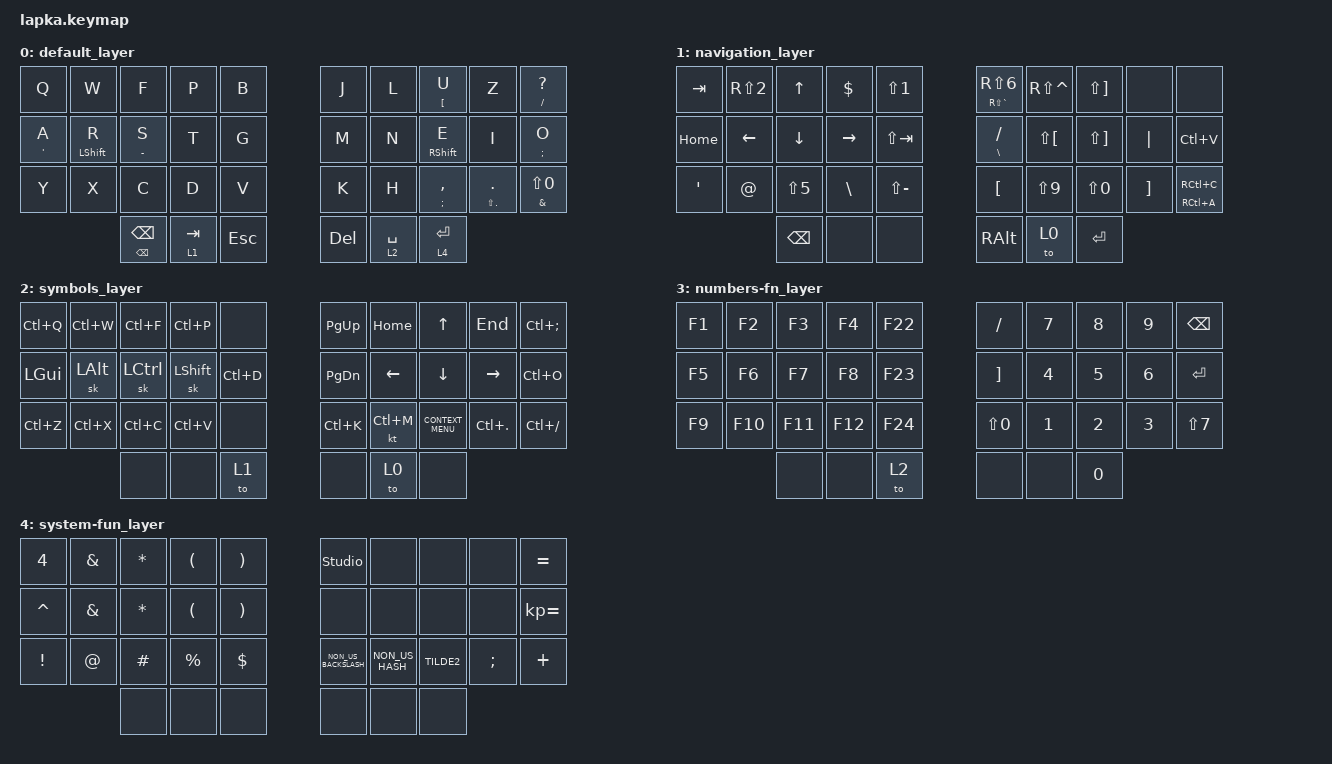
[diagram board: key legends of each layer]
#include <behaviors.dtsi>
#include <dt-bindings/zmk/keys.h>

//  0  1  2  3  4       5  6  7  8  9
// 10 11 12 13 14      15 16 17 18 19
// 20 21 22 23 24      25 26 27 28 29
//       30 31 32      33 34 35

#define LEFT_KEYS 0 1 2 3 4 10 11 12 13 14 20 21 22 23 24
#define LEFT_THUMBS 30 31 32
#define RIGHT_KEYS 5 6 7 8 9 15 16 17 18 19 25 26 27 28 29
#define RIGHT_THUMBS 33 34 35
#define DEF 0
#define NAV 1
#define SYM 2
#define NUM 3
#define SYS 4

/ {
    conditional_layers { compatible = "zmk,conditional-layers"; };
};

/ {
    combos { compatible = "zmk,combos"; };

    keymap {
        compatible = "zmk,keymap";

        default_layer {
            bindings = <
&kp Q      &kp W             &kp F                    &kp P      &kp B       &kp J       &kp L        &mt LEFT_BRACKET U  &kp Z            &mt SLASH QUESTION
&mt SQT A  &mt LEFT_SHIFT R  &mt MINUS S              &kp T      &kp G       &kp M       &kp N        &mt RIGHT_SHIFT E   &kp I            &mt SEMICOLON O
&kp Y      &kp X             &kp C                    &kp D      &kp V       &kp K       &kp H        &mt SEMI COMMA      &mt LS(DOT) DOT  &mt AMPERSAND LS(N0)
                             &mt BACKSPACE BACKSPACE  &lt 1 TAB  &kp ESCAPE  &kp DELETE  &lt 2 SPACE  &lt 4 ENTER
            >;
        };

        navigation_layer {
            bindings = <
&kp TAB   &kp RS(NUMBER_2)  &kp UP_ARROW    &kp DOLLAR       &kp LS(NUMBER_1)  &mt RS(GRAVE) RS(NUMBER_6)  &kp RS(CARET)         &kp LS(RIGHT_BRACKET)  &none              &none
&kp HOME  &kp LEFT_ARROW    &kp DOWN_ARROW  &kp RIGHT_ARROW  &kp LS(TAB)       &mt BACKSLASH SLASH         &kp LS(LEFT_BRACKET)  &kp LS(RIGHT_BRACKET)  &kp PIPE           &kp LC(V)
&kp SQT   &kp AT            &kp LS(N5)      &kp BACKSLASH    &kp LS(MINUS)     &kp LEFT_BRACKET            &kp LS(N9)            &kp LS(N0)             &kp RIGHT_BRACKET  &mt RC(A) RC(C)
                            &kp BACKSPACE   &none            &none             &kp RIGHT_ALT               &to 0                 &kp ENTER
            >;
        };

        symbols_layer {
            bindings = <
&kp LC(Q)  &kp LC(W)  &kp LC(F)  &kp LC(P)   &none      &kp PG_UP  &kp HOME   &kp UP              &kp END         &kp LC(SEMI)
&kp LGUI   &sk LALT   &sk LCTRL  &sk LSHIFT  &kp LC(D)  &kp PG_DN  &kp LEFT   &kp DOWN            &kp RIGHT       &kp LC(O)
&kp LC(Z)  &kp LC(X)  &kp LC(C)  &kp LC(V)   &none      &kp LC(K)  &kt LC(M)  &kp K_CONTEXT_MENU  &kp LC(PERIOD)  &kp LC(SLASH)
                      &none      &none       &to 1      &none      &to 0      &none
            >;
        };

        numbers-fn_layer {
            bindings = <
&kp F1  &kp F2   &kp F3   &kp F4   &kp F22  &kp SLASH   &kp N7  &kp N8  &kp N9  &kp BSPC
&kp F5  &kp F6   &kp F7   &kp F8   &kp F23  &kp RBKT    &kp N4  &kp N5  &kp N6  &kp ENTER
&kp F9  &kp F10  &kp F11  &kp F12  &kp F24  &kp LS(N0)  &kp N1  &kp N2  &kp N3  &kp LS(N7)
                 &none    &none    &to 2    &none       &none   &kp N0
            >;
        };

        system-fun_layer {
            bindings = <
&kp N4           &kp AMPS       &kp STAR      &kp LPAR              &kp RPAR               &studio_unlock        &none            &none       &none          &kp EQUAL
&kp CARET        &kp AMPERSAND  &kp ASTERISK  &kp LEFT_PARENTHESIS  &kp RIGHT_PARENTHESIS  &none                 &none            &none       &none          &kp KP_EQUAL
&kp EXCLAMATION  &kp AT         &kp HASH      &kp PERCENT           &kp DOLLAR             &kp NON_US_BACKSLASH  &kp NON_US_HASH  &kp TILDE2  &kp SEMICOLON  &kp PLUS
                                &none         &none                 &none                  &none                 &none            &none
            >;
        };
    };
};
